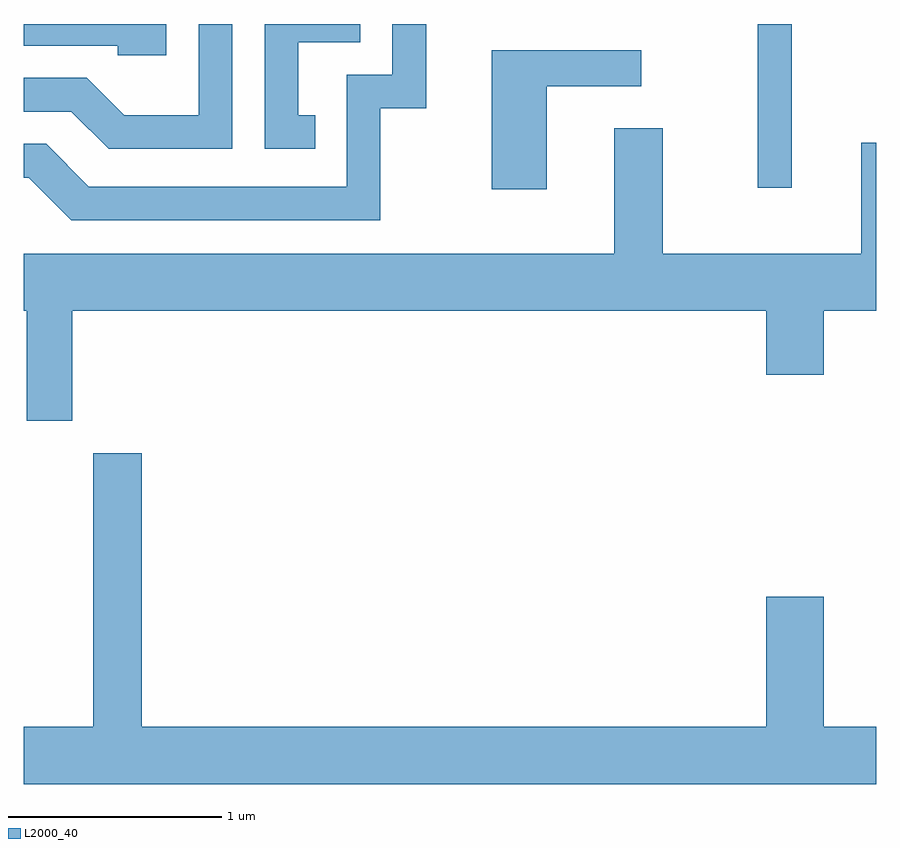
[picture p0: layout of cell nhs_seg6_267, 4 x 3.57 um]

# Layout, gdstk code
import gdstk
lib = gdstk.Library(unit=1e-6, precision=1e-09)
def R(c, l, rs):  # rectangles x0, y0, x1, y1
    for r in rs: c.add(gdstk.rectangle(r[:2], r[2:], *l))
def P(c, l, *ps):  # polygons
    for p in ps: c.add(gdstk.Polygon(p, *l))
L2000_40 = (2000, 40)

nhs_seg6_267 = lib.new_cell('nhs_seg6_267')
R(nhs_seg6_267, L2000_40, [(195.056,1659.393,195.214,1660.162)])
P(nhs_seg6_267, L2000_40, [(192.589,1660.162),(192.431,1660.162),(192.431,1659.734),(192.082,1659.734),(191.907,1659.909),(191.611,1659.909),(191.611,1659.751),(191.834,1659.751),(192.009,1659.576),(192.589,1659.576)],
  [(192.279,1660.162),(191.611,1660.162),(191.611,1660.061),(192.051,1660.061),(192.051,1660.016),(192.279,1660.016)],
  [(193.284,1659.766),(193.499,1659.766),(193.499,1660.162),(193.341,1660.162),(193.341,1659.924),(193.126,1659.924),(193.126,1659.399),(191.917,1659.399),(191.717,1659.599),(191.611,1659.599),(191.611,1659.441),(191.634,1659.441),(191.834,1659.241),(193.284,1659.241)],
  [(192.978,1659.734),(192.899,1659.734),(192.899,1660.076),(193.189,1660.076),(193.189,1660.162),(192.741,1660.162),(192.741,1659.576),(192.978,1659.576)],
  [(194.064,1659.871),(194.508,1659.871),(194.508,1660.039),(193.806,1660.039),(193.806,1659.386),(194.064,1659.386)],
  [(191.839,1658.816),(195.096,1658.816),(195.096,1658.516),(195.364,1658.516),(195.364,1658.816),(195.611,1658.816),(195.611,1659.604),(195.541,1659.604),(195.541,1659.084),(194.609,1659.084),(194.609,1659.674),(194.381,1659.674),(194.381,1659.084),(191.611,1659.084),(191.611,1658.816),(191.626,1658.816),(191.626,1658.301),(191.839,1658.301)],
  [(195.611,1656.864),(195.364,1656.864),(195.364,1657.474),(195.096,1657.474),(195.096,1656.864),(192.164,1656.864),(192.164,1658.149),(191.936,1658.149),(191.936,1656.864),(191.611,1656.864),(191.611,1656.596),(195.611,1656.596)])

lib.write_gds('nhs_seg6_267.gds')
